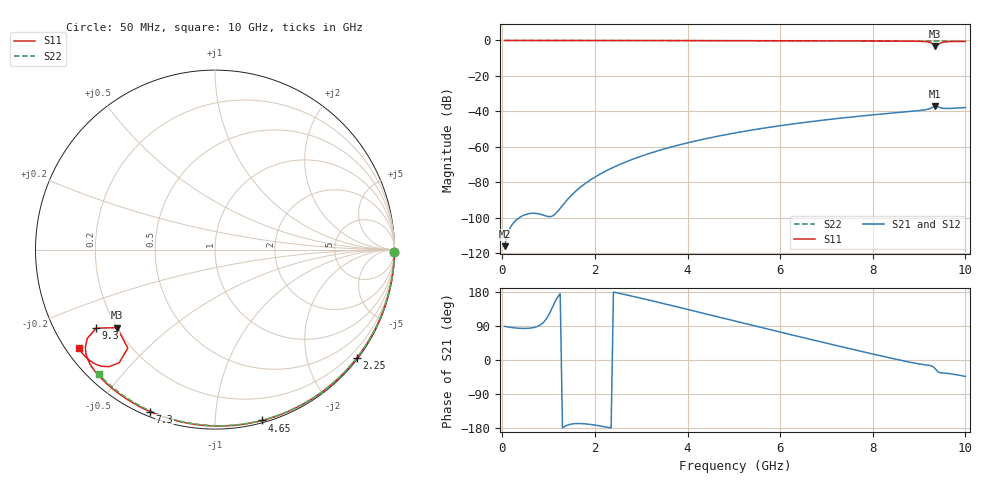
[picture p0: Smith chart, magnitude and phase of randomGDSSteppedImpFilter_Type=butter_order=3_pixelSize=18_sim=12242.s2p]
! freq	dB(S11)	phase(S11)	dB(S12)	phase(S12)
!  dB(S21)	phase(S21)	dB(S22)	phase(S22)
!S-par simulation data
#  GHz  S  DB  R 50
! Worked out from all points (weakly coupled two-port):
!   200 points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, 50 MHz to 10 GHz, reference 50 ohm
!   highest |S21| = -37.07 dB at 9.35 GHz (marker M1); lowest = -116.0 dB at 50 MHz (marker M2)
!   lowest |S11| = -3.1 dB at 9.35 GHz (marker M3), VSWR 5.62, Z = 9.94 - j16.9 ohm
!   |S11| at or under -10 dB: nowhere
!   |S22| runs from -0.4 to 0.0 dB; largest |S21 - S12| = 0
!   S11 on the Smith chart (normalised r, x): 50 MHz: open; 2.25 GHz: 0.03, -2.95; 4.65 GHz: 0.02, -1.31; 7.3 GHz: 0.02, -0.68; 9.3 GHz: 0.13, -0.30; 10 GHz: 0.03, -0.32
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0.05  -0.00 -0.9  -115.99 88.8  -115.99 88.8  -0.00 -0.8
0.9  -0.02 -15.2  -98.60 100.7  -98.60 100.7  -0.02 -13.8
1.75  -0.04 -29.3  -81.45 -168.1  -81.45 -168.1  -0.03 -26.5
1.85  -0.04 -30.9  -79.57 -169.2  -79.57 -169.2  -0.04 -28.0
2.25  -0.05 -37.4  -73.42 -177.1  -73.42 -177.1  -0.04 -33.9
2.75  -0.06 -45.5  -67.63 170.0  -67.63 170.0  -0.05 -41.2
3.4  -0.07 -55.7  -61.89 151.3  -61.89 151.3  -0.07 -50.5
4.65  -0.11 -74.6  -54.01 114.0  -54.01 114.0  -0.10 -67.7
5.05  -0.12 -80.4  -52.03 102.0  -52.03 102.0  -0.11 -73.0
5.85  -0.16 -91.8  -48.64 78.2  -48.64 78.2  -0.14 -83.4
6.7  -0.20 -103.6  -45.64 53.1  -45.64 53.1  -0.18 -94.1
7.3  -0.24 -111.8  -43.83 35.7  -43.83 35.7  -0.22 -101.5
8.35  -0.33 -126.2  -41.10 6.1  -41.10 6.1  -0.29 -114.0
9.05  -0.52 -138.1  -39.37 -11.4  -39.37 -11.4  -0.35 -122.1
9.2  -0.86 -142.9  -38.68 -13.9  -38.68 -13.9  -0.36 -123.9
9.3  -2.01 -146.5  -37.62 -17.3  -37.62 -17.3  -0.37 -125.0
9.35  -3.12 -141.5  -37.07 -23.3  -37.07 -23.3  -0.38 -125.6
9.4  -2.70 -131.5  -37.30 -30.4  -37.30 -30.4  -0.38 -126.2
9.45  -1.66 -130.2  -37.86 -33.4  -37.86 -33.4  -0.39 -126.8
9.5  -1.12 -132.1  -38.19 -34.2  -38.19 -34.2  -0.39 -127.3
9.65  -0.66 -137.2  -38.33 -35.8  -38.33 -35.8  -0.41 -129.1
10  -0.55 -144.1  -37.83 -43.3  -37.83 -43.3  -0.45 -133.1
